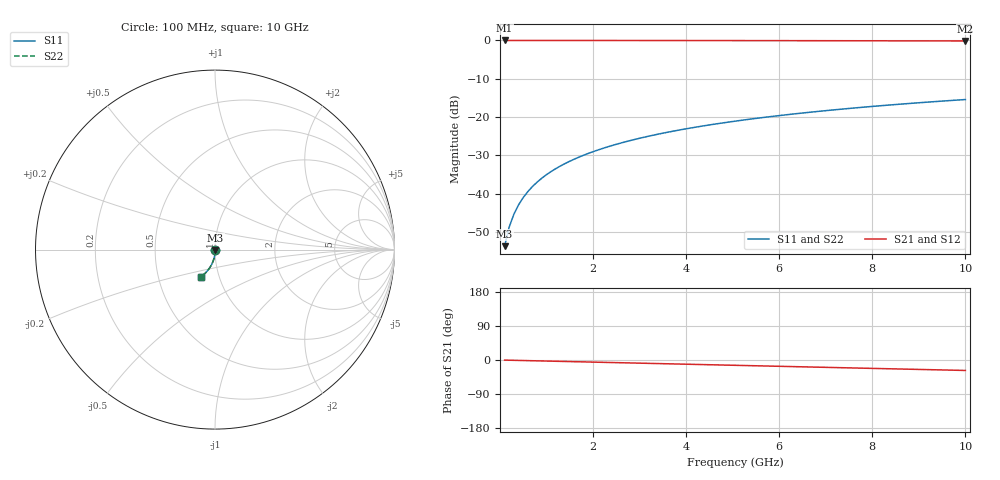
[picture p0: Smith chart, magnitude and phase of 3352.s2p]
# Hz S RI R 50.00
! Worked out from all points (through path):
!   100 points, 100 MHz to 10 GHz, reference 50 ohm
!   highest |S21| = -0.01 dB at 100 MHz (marker M1); lowest = -0.1 dB at 10 GHz (marker M2)
!   group delay of S21, straight-line fit = 7.67 ps
!   lowest |S11| = -53.7 dB at 100 MHz (marker M3), VSWR 1.00, Z = 50.1 - j0.178 ohm
!   |S11| at or under -10 dB: start of sweep to end of sweep
!   |S22| runs from -53.7 to -15.4 dB; largest |S21 - S12| = 0
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1e8  0.00106 -0.00177  0.9989 -0.00484  0.9989 -0.00484  0.00106 -0.00177
2e8  0.00104 -0.00354  0.9989 -0.00968  0.9989 -0.00968  0.00104 -0.00354
3e8  0.000996 -0.00531  0.9988 -0.0145  0.9988 -0.0145  0.000996 -0.00531
4e8  0.000937 -0.00709  0.9987 -0.0194  0.9987 -0.0194  0.000937 -0.00709
5e8  0.00086 -0.00886  0.9986 -0.0242  0.9986 -0.0242  0.00086 -0.00886
6e8  0.000766 -0.0106  0.9984 -0.029  0.9984 -0.029  0.000766 -0.0106
7e8  0.000655 -0.0124  0.9982 -0.0339  0.9982 -0.0339  0.000655 -0.0124
8e8  0.000526 -0.0142  0.998 -0.0387  0.998 -0.0387  0.000526 -0.0142
9e8  0.00038 -0.0159  0.9978 -0.0435  0.9978 -0.0435  0.00038 -0.0159
1.1e9  3.65e-05 -0.0195  0.9973 -0.0532  0.9973 -0.0532  3.65e-05 -0.0195
1.4e9  -0.000608 -0.0247  0.9962 -0.0677  0.9962 -0.0677  -0.000608 -0.0247
1.8e9  -0.00171 -0.0317  0.9945 -0.0869  0.9945 -0.0869  -0.00171 -0.0317
2.1e9  -0.00271 -0.037  0.993 -0.1013  0.993 -0.1013  -0.00271 -0.037
2.5e9  -0.00428 -0.0439  0.9905 -0.1205  0.9905 -0.1205  -0.00428 -0.0439
2.9e9  -0.00611 -0.0507  0.9876 -0.1396  0.9876 -0.1396  -0.00611 -0.0507
3.4e9  -0.00877 -0.0592  0.9835 -0.1634  0.9835 -0.1634  -0.00877 -0.0592
4.2e9  -0.0139 -0.0724  0.9755 -0.2011  0.9755 -0.2011  -0.0139 -0.0724
5.1e9  -0.0208 -0.0867  0.9645 -0.243  0.9645 -0.243  -0.0208 -0.0867
5.9e9  -0.028 -0.0989  0.9531 -0.2796  0.9531 -0.2796  -0.028 -0.0989
6.7e9  -0.036 -0.1104  0.9402 -0.3156  0.9402 -0.3156  -0.036 -0.1104
8.4e9  -0.0559 -0.1327  0.908 -0.3897  0.908 -0.3897  -0.0559 -0.1327
1e10  -0.0776 -0.1504  0.872 -0.4559  0.872 -0.4559  -0.0776 -0.1504
